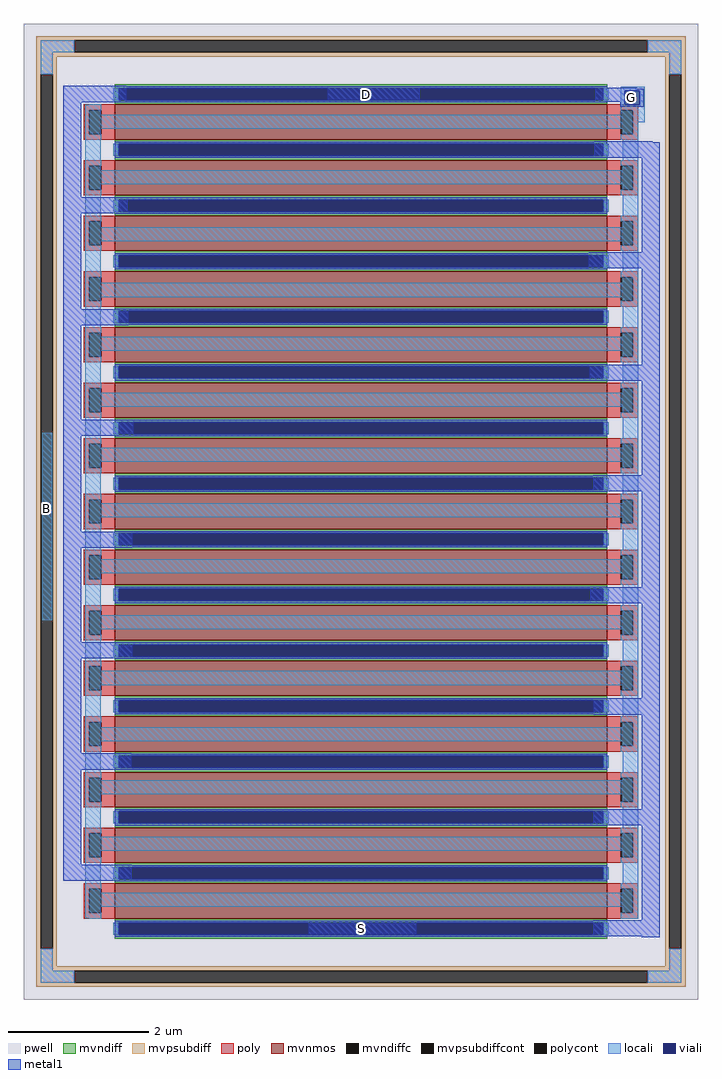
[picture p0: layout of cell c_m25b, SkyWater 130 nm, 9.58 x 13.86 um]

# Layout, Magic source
magic
tech sky130A
magscale 1 2
<< locali >>
rect 1645 2514 1713 2526
rect 1645 2474 1656 2514
rect 1698 2474 1713 2514
rect 124 2446 168 2474
rect 1645 2446 1713 2474
rect 124 2424 1713 2446
rect 124 2406 1694 2424
rect 124 2288 168 2406
rect 1650 2288 1694 2406
rect 124 2248 1694 2288
rect 124 2126 168 2248
rect 1650 2126 1694 2248
rect 124 2086 1694 2126
rect 124 1968 168 2086
rect 1650 1968 1694 2086
rect 124 1928 1694 1968
rect 124 1816 168 1928
rect 1650 1816 1694 1928
rect 124 1776 1694 1816
rect 124 1656 168 1776
rect 1650 1656 1694 1776
rect 124 1616 1694 1656
rect 2 1010 30 1542
rect 124 1500 168 1616
rect 1650 1500 1694 1616
rect 124 1460 1694 1500
rect 124 1342 168 1460
rect 1650 1342 1694 1460
rect 124 1302 1694 1342
rect 124 1184 168 1302
rect 1650 1184 1694 1302
rect 124 1144 1694 1184
rect 124 1025 168 1144
rect 1650 1025 1694 1144
rect 124 985 1694 1025
rect 124 866 168 985
rect 1650 866 1694 985
rect 124 826 1694 866
rect 124 706 168 826
rect 1650 706 1694 826
rect 124 666 1694 706
rect 124 556 168 666
rect 1650 556 1694 666
rect 124 516 1694 556
rect 124 395 168 516
rect 1650 395 1694 516
rect 124 355 1694 395
rect 124 236 168 355
rect 1650 236 1694 355
rect 124 196 1694 236
rect 124 164 168 196
rect 1650 162 1694 196
<< viali >>
rect 1656 2474 1698 2514
<< metal1 >>
rect 62 2482 240 2528
rect 812 2490 1074 2522
rect 1572 2520 1690 2523
rect 1572 2514 1710 2520
rect 1572 2483 1656 2514
rect 62 2212 112 2482
rect 1644 2474 1656 2483
rect 1698 2474 1710 2514
rect 1644 2468 1710 2474
rect 1570 2368 1736 2370
rect 1570 2324 1755 2368
rect 62 2166 244 2212
rect 62 1894 112 2166
rect 1705 2056 1755 2324
rect 1554 2010 1755 2056
rect 62 1848 246 1894
rect 62 1580 112 1848
rect 1705 1736 1755 2010
rect 1556 1690 1755 1736
rect 62 1534 260 1580
rect 62 1262 112 1534
rect 1705 1422 1755 1690
rect 1566 1376 1755 1422
rect 62 1216 258 1262
rect 62 948 112 1216
rect 1705 1104 1755 1376
rect 1558 1058 1755 1104
rect 62 902 258 948
rect 62 632 112 902
rect 1705 788 1755 1058
rect 1568 742 1755 788
rect 62 586 254 632
rect 62 316 112 586
rect 1705 474 1755 742
rect 1566 428 1755 474
rect 62 270 256 316
rect 1705 158 1755 428
rect 758 120 1064 150
rect 1566 112 1755 158
rect 1705 110 1755 112
use sky130_fd_pr__nfet_g5v0d10v5_ZZA6K9  sky130_fd_pr__nfet_g5v0d10v5_ZZA6K9_0
transform 0 1 907 -1 0 1319
box -1386 -958 1386 958
<< labels >>
flabel metal1 922 2504 922 2504 0 FreeSans 800 0 0 0 D
port 0 nsew
flabel viali 1676 2496 1676 2496 0 FreeSans 800 0 0 0 G
port 1 nsew
flabel metal1 908 134 908 134 0 FreeSans 800 0 0 0 S
port 2 nsew
flabel locali 14 1328 14 1328 0 FreeSans 800 0 0 0 B
port 3 nsew
<< end >>

# cell sky130_fd_pr__nfet_g5v0d10v5_ZZA6K9: kit device sky130_fd_pr__nfet_g5v0d10v5, w 7 l 0.5 m 1 nf 15 diffcov 100 polycov 100 guard 1 glc 1 grc 1 gtc 1 gbc 1 tbcov 100 rlcov 100 topc 1 botc 1 poverlap 0 doverlap 1 lmin 0.50 wmin 0.42 class mosfet compatible {sky130_fd_pr__nfet_01v8 sky130_fd_pr__nfet_01v8_lvt sky130_fd_bs_flash__special_sonosfet_star sky130_fd_pr__nfet_g5v0d10v5 sky130_fd_pr__nfet_05v0_nvt sky130_fd_pr__nfet_03v3_nvt} full_metal 1 conn_gates 0 viasrc 100 viadrn 100 viagate 100 viagb 0 viagr 0 viagl 0 viagt 0 doports 1
